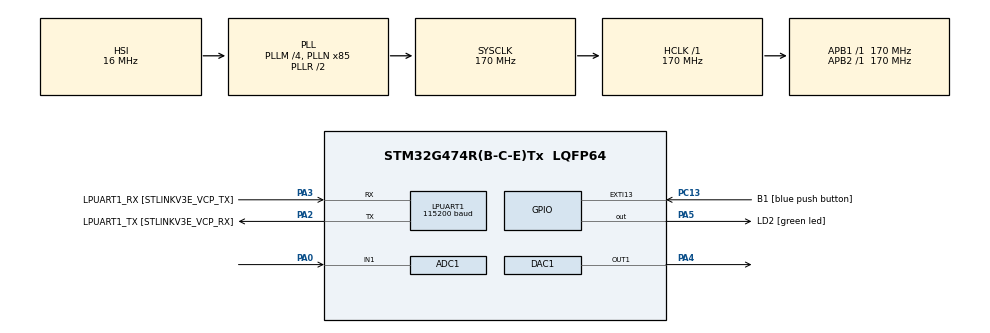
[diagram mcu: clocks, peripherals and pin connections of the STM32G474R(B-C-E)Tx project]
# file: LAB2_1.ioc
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ADC1.Channel-0\#ChannelRegularConversion=ADC_CHANNEL_1
ADC1.ContinuousConvMode=ENABLE
ADC1.DMAContinuousRequests=ENABLE
ADC1.NbrOfConversionFlag=1
ADC1.OffsetNumber-0\#ChannelRegularConversion=ADC_OFFSET_NONE
ADC1.Rank-0\#ChannelRegularConversion=1
ADC1.SamplingTime-0\#ChannelRegularConversion=ADC_SAMPLETIME_640CYCLES_5
ADC1.master=1
Dma.ADC1.0.Direction=DMA_PERIPH_TO_MEMORY
Dma.ADC1.0.EventEnable=DISABLE
Dma.ADC1.0.Instance=DMA1_Channel1
Dma.ADC1.0.MemDataAlignment=DMA_MDATAALIGN_HALFWORD
Dma.ADC1.0.MemInc=DMA_MINC_ENABLE
Dma.ADC1.0.Mode=DMA_CIRCULAR
Dma.ADC1.0.PeriphDataAlignment=DMA_PDATAALIGN_HALFWORD
Dma.ADC1.0.PeriphInc=DMA_PINC_DISABLE
Dma.ADC1.0.Polarity=HAL_DMAMUX_REQ_GEN_RISING
Dma.ADC1.0.Priority=DMA_PRIORITY_LOW
Dma.ADC1.0.RequestNumber=1
Dma.ADC1.0.SignalID=NONE
Dma.ADC1.0.SyncEnable=DISABLE
Dma.ADC1.0.SyncPolarity=HAL_DMAMUX_SYNC_NO_EVENT
Dma.ADC1.0.SyncRequestNumber=1
Dma.ADC1.0.SyncSignalID=NONE
Dma.Request0=ADC1
LPUART1.BaudRate=115200
LPUART1.WordLength=UART_WORDLENGTH_8B
Mcu.Family=STM32G4
Mcu.Name=STM32G474R(B-C-E)Tx
Mcu.Package=LQFP64
NVIC.DMA1_Channel1_IRQn=true\:0\:0\:false\:false\:true\:false\:true\:true
NVIC.EXTI15_10_IRQn=true\:0\:0\:false\:false\:true\:true\:true\:true
NVIC.PriorityGroup=NVIC_PRIORITYGROUP_4
PA0.Mode=IN1-Single-Ended
PA0.Signal=ADC1_IN1
PA13.GPIO_Label=T_SWDIO
PA13.Mode=Trace_Asynchronous_SW
PA13.Signal=SYS_JTMS-SWDIO
PA14.GPIO_Label=T_SWCLK
PA14.Mode=Trace_Asynchronous_SW
PA14.Signal=SYS_JTCK-SWCLK
PA2.GPIO_Label=LPUART1_TX [STLINKV3E_VCP_RX]
PA2.Mode=Asynchronous
PA2.Signal=LPUART1_TX
PA3.GPIO_Label=LPUART1_RX [STLINKV3E_VCP_TX]
PA3.Mode=Asynchronous
PA3.Signal=LPUART1_RX
PA4.Signal=COMP_DAC11_group
PA5.GPIO_Label=LD2 [green led]
PA5.Signal=GPIO_Output
PB3.GPIO_Label=T_SWO
PB3.Mode=Trace_Asynchronous_SW
PB3.Signal=SYS_JTDO-SWO
PC13.GPIO_Label=B1 [blue push button]
PC13.Signal=GPXTI13
PC14-OSC32_IN.Mode=LSE-External-Oscillator
PC14-OSC32_IN.Signal=RCC_OSC32_IN
PC15-OSC32_OUT.Mode=LSE-External-Oscillator
PC15-OSC32_OUT.Signal=RCC_OSC32_OUT
PF0-OSC_IN.Mode=HSE-External-Oscillator
PF0-OSC_IN.Signal=RCC_OSC_IN
PF1-OSC_OUT.Mode=HSE-External-Oscillator
PF1-OSC_OUT.Signal=RCC_OSC_OUT
ProjectManager.HeapSize=0x200
ProjectManager.StackSize=0x400
ProjectManager.TargetToolchain=STM32CubeIDE
RCC.ADC12Freq_Value=170000000
RCC.ADC345Freq_Value=170000000
RCC.AHBFreq_Value=170000000
RCC.APB1Freq_Value=170000000
RCC.APB1TimFreq_Value=170000000
RCC.APB2Freq_Value=170000000
RCC.APB2TimFreq_Value=170000000
RCC.CortexFreq_Value=170000000
RCC.EXTERNAL_CLOCK_VALUE=12288000
RCC.HCLKFreq_Value=170000000
RCC.HSE_VALUE=24000000
RCC.HSI48_VALUE=48000000
RCC.HSI_VALUE=16000000
RCC.PLLM=RCC_PLLM_DIV4
RCC.PLLN=85
RCC.RTCClockSelection=RCC_RTCCLKSOURCE_LSE
RCC.SYSCLKFreq_VALUE=170000000
RCC.SYSCLKSource=RCC_SYSCLKSOURCE_PLLCLK
RCC.USBFreq_Value=170000000
RCC.VCOOutputFreq_Value=340000000
SH.COMP_DAC11_group.0=DAC1_OUT1,DAC_OUT1_ExtAndInt
TIM2.Prescaler=170-1
VP_SYS_VS_DBSignals.Mode=DisableDeadBatterySignals
VP_TIM2_VS_ClockSourceINT.Mode=Internal
board=NUCLEO-G474RE

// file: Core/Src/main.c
/* USER CODE BEGIN Header */
/**
  ******************************************************************************
  * @file           : main.c
  * @brief          : Main program body
  ******************************************************************************
  * @attention
  *
  * Copyright (c) 2024 STMicroelectronics.
  * All rights reserved.
  *
  * This software is licensed under terms that can be found in the LICENSE file
  * in the root directory of this software component.
  * If no LICENSE file comes with this software, it is provided AS-IS.
  *
  ******************************************************************************
  */
/* USER CODE END Header */
#include "main.h"

ADC_HandleTypeDef hadc1;
DMA_HandleTypeDef hdma_adc1;

DAC_HandleTypeDef hdac1;

UART_HandleTypeDef hlpuart1;

TIM_HandleTypeDef htim2;

/* USER CODE BEGIN PV */
double T = 0.00001;
double Vin = 0;
double omega = 0;
double omega_1 = 0;
double omega_2 = 0;

double R = 28.962;
double B = 2.2936*(1/100000);
double J = 1.0233*(1/100000);
double L = 0.0243;
double K_t = 0.124;
double K_e = 0.056;

double num;
double den;

float ADC_avg = 0;
uint16_t ADCRead[21]  = {0};
uint16_t DACOut = 0;
float Vout = 0;
//lol

/* USER CODE END PV */

void SystemClock_Config(void);
static void MX_GPIO_Init(void);
static void MX_DMA_Init(void);
static void MX_LPUART1_UART_Init(void);
static void MX_ADC1_Init(void);
static void MX_DAC1_Init(void);
static void MX_TIM2_Init(void);

int main(void)
{

  /* MCU Configuration--------------------------------------------------------*/

  /* Reset of all peripherals, Initializes the Flash interface and the Systick. */
  HAL_Init();

  /* Configure the system clock */
  SystemClock_Config();

  /* Initialize all configured peripherals */
  MX_GPIO_Init();
  MX_DMA_Init();
  MX_LPUART1_UART_Init();
  MX_ADC1_Init();
  MX_DAC1_Init();
  MX_TIM2_Init();
  /* USER CODE BEGIN 2 */
  HAL_TIM_Base_Start(&htim2);

  HAL_ADCEx_Calibration_Start(&hadc1, ADC_SINGLE_ENDED);
  HAL_ADC_Start_DMA(&hadc1, ADCRead, 21);

  HAL_DAC_SetValue(&hdac1, DAC_CHANNEL_1, DAC_ALIGN_12B_R, 2048);
  HAL_DAC_Start(&hdac1, DAC_CHANNEL_1);
  /* USER CODE END 2 */

  /* Infinite loop */
  while (1)
  {

    /* USER CODE BEGIN 3 */
//
//	  	  if(__HAL_DMA_GET_COUNTER(hadc1.DMA_Handle)>=1){
	  		  uint32_t sumadc = 0;
	  		  for(int i = 0 ; i<20;i++){
	  			  sumadc += ADCRead[i];
	  		  }
	  		  ADC_avg = sumadc/20;
//	  	  }
//	  	  ADC_avg = ADCRead[0];
		  static uint32_t timestamp = 0;
		  if(timestamp <=__HAL_TIM_GET_COUNTER(&htim2))
		  {
			  //re-time
			  timestamp = __HAL_TIM_GET_COUNTER(&htim2) + 100;

			  //equation
			  Vin = ((ADC_avg*3.3/4095)-1.65)*7.27272;
//			  Vin = ADC_avg*12/4095;
//			  Vin = Vin*12/3.3;

			  num = (K_t*T*T*Vin)+(((2*J*L)+(J*R*T)+(L*B*T))*omega_1)-(J*L*omega_2);
			  den = (J*L)+(J*R*T)+(L*B*T)+(R*B*T*T)+(K_t*K_e*T*T);
			  omega = num/den;

			  Vout = 1.65 + (omega-0)*((2.65-1.65)/(100));
			  DACOut = Vout*4095/3.3;
			  if(DACOut >= 4095)DACOut = 4095;
			  HAL_DAC_SetValue(&hdac1, DAC_CHANNEL_1, DAC_ALIGN_12B_R, DACOut);

			  HAL_GPIO_TogglePin(GPIOA, GPIO_PIN_5);
			  //re-omega
			  omega_2 = omega_1;
			  omega_1 = omega;
		  }

  }
  /* USER CODE END 3 */
}

void SystemClock_Config(void)
{
  RCC_OscInitTypeDef RCC_OscInitStruct = {0};
  RCC_ClkInitTypeDef RCC_ClkInitStruct = {0};

  /** Configure the main internal regulator output voltage
  */
  HAL_PWREx_ControlVoltageScaling(PWR_REGULATOR_VOLTAGE_SCALE1_BOOST);

  /** Initializes the RCC Oscillators according to the specified parameters
  * in the RCC_OscInitTypeDef structure.
  */
  RCC_OscInitStruct.OscillatorType = RCC_OSCILLATORTYPE_HSI;
  RCC_OscInitStruct.HSIState = RCC_HSI_ON;
  RCC_OscInitStruct.HSICalibrationValue = RCC_HSICALIBRATION_DEFAULT;
  RCC_OscInitStruct.PLL.PLLState = RCC_PLL_ON;
  RCC_OscInitStruct.PLL.PLLSource = RCC_PLLSOURCE_HSI;
  RCC_OscInitStruct.PLL.PLLM = RCC_PLLM_DIV4;
  RCC_OscInitStruct.PLL.PLLN = 85;
  RCC_OscInitStruct.PLL.PLLP = RCC_PLLP_DIV2;
  RCC_OscInitStruct.PLL.PLLQ = RCC_PLLQ_DIV2;
  RCC_OscInitStruct.PLL.PLLR = RCC_PLLR_DIV2;
  if (HAL_RCC_OscConfig(&RCC_OscInitStruct) != HAL_OK)
  {
    Error_Handler();
  }

  /** Initializes the CPU, AHB and APB buses clocks
  */
  RCC_ClkInitStruct.ClockType = RCC_CLOCKTYPE_HCLK|RCC_CLOCKTYPE_SYSCLK
                              |RCC_CLOCKTYPE_PCLK1|RCC_CLOCKTYPE_PCLK2;
  RCC_ClkInitStruct.SYSCLKSource = RCC_SYSCLKSOURCE_PLLCLK;
  RCC_ClkInitStruct.AHBCLKDivider = RCC_SYSCLK_DIV1;
  RCC_ClkInitStruct.APB1CLKDivider = RCC_HCLK_DIV1;
  RCC_ClkInitStruct.APB2CLKDivider = RCC_HCLK_DIV1;

  if (HAL_RCC_ClockConfig(&RCC_ClkInitStruct, FLASH_LATENCY_4) != HAL_OK)
  {
    Error_Handler();
  }
}

static void MX_ADC1_Init(void)
{

  ADC_MultiModeTypeDef multimode = {0};
  ADC_ChannelConfTypeDef sConfig = {0};

  /** Common config
  */
  hadc1.Instance = ADC1;
  hadc1.Init.ClockPrescaler = ADC_CLOCK_SYNC_PCLK_DIV4;
  hadc1.Init.Resolution = ADC_RESOLUTION_12B;
  hadc1.Init.DataAlign = ADC_DATAALIGN_RIGHT;
  hadc1.Init.GainCompensation = 0;
  hadc1.Init.ScanConvMode = ADC_SCAN_DISABLE;
  hadc1.Init.EOCSelection = ADC_EOC_SINGLE_CONV;
  hadc1.Init.LowPowerAutoWait = DISABLE;
  hadc1.Init.ContinuousConvMode = ENABLE;
  hadc1.Init.NbrOfConversion = 1;
  hadc1.Init.DiscontinuousConvMode = DISABLE;
  hadc1.Init.ExternalTrigConv = ADC_SOFTWARE_START;
  hadc1.Init.ExternalTrigConvEdge = ADC_EXTERNALTRIGCONVEDGE_NONE;
  hadc1.Init.DMAContinuousRequests = ENABLE;
  hadc1.Init.Overrun = ADC_OVR_DATA_PRESERVED;
  hadc1.Init.OversamplingMode = DISABLE;
  if (HAL_ADC_Init(&hadc1) != HAL_OK)
  {
    Error_Handler();
  }

  /** Configure the ADC multi-mode
  */
  multimode.Mode = ADC_MODE_INDEPENDENT;
  if (HAL_ADCEx_MultiModeConfigChannel(&hadc1, &multimode) != HAL_OK)
  {
    Error_Handler();
  }

  /** Configure Regular Channel
  */
  sConfig.Channel = ADC_CHANNEL_1;
  sConfig.Rank = ADC_REGULAR_RANK_1;
  sConfig.SamplingTime = ADC_SAMPLETIME_640CYCLES_5;
  sConfig.SingleDiff = ADC_SINGLE_ENDED;
  sConfig.OffsetNumber = ADC_OFFSET_NONE;
  sConfig.Offset = 0;
  if (HAL_ADC_ConfigChannel(&hadc1, &sConfig) != HAL_OK)
  {
    Error_Handler();
  }

}

static void MX_DAC1_Init(void)
{

  DAC_ChannelConfTypeDef sConfig = {0};

  /** DAC Initialization
  */
  hdac1.Instance = DAC1;
  if (HAL_DAC_Init(&hdac1) != HAL_OK)
  {
    Error_Handler();
  }

  /** DAC channel OUT1 config
  */
  sConfig.DAC_HighFrequency = DAC_HIGH_FREQUENCY_INTERFACE_MODE_AUTOMATIC;
  sConfig.DAC_DMADoubleDataMode = DISABLE;
  sConfig.DAC_SignedFormat = DISABLE;
  sConfig.DAC_SampleAndHold = DAC_SAMPLEANDHOLD_DISABLE;
  sConfig.DAC_Trigger = DAC_TRIGGER_NONE;
  sConfig.DAC_Trigger2 = DAC_TRIGGER_NONE;
  sConfig.DAC_OutputBuffer = DAC_OUTPUTBUFFER_ENABLE;
  sConfig.DAC_ConnectOnChipPeripheral = DAC_CHIPCONNECT_BOTH;
  sConfig.DAC_UserTrimming = DAC_TRIMMING_FACTORY;
  if (HAL_DAC_ConfigChannel(&hdac1, &sConfig, DAC_CHANNEL_1) != HAL_OK)
  {
    Error_Handler();
  }

}

static void MX_LPUART1_UART_Init(void)
{

  hlpuart1.Instance = LPUART1;
  hlpuart1.Init.BaudRate = 115200;
  hlpuart1.Init.WordLength = UART_WORDLENGTH_8B;
  hlpuart1.Init.StopBits = UART_STOPBITS_1;
  hlpuart1.Init.Parity = UART_PARITY_NONE;
  hlpuart1.Init.Mode = UART_MODE_TX_RX;
  hlpuart1.Init.HwFlowCtl = UART_HWCONTROL_NONE;
  hlpuart1.Init.OneBitSampling = UART_ONE_BIT_SAMPLE_DISABLE;
  hlpuart1.Init.ClockPrescaler = UART_PRESCALER_DIV1;
  hlpuart1.AdvancedInit.AdvFeatureInit = UART_ADVFEATURE_NO_INIT;
  if (HAL_UART_Init(&hlpuart1) != HAL_OK)
  {
    Error_Handler();
  }
  if (HAL_UARTEx_SetTxFifoThreshold(&hlpuart1, UART_TXFIFO_THRESHOLD_1_8) != HAL_OK)
  {
    Error_Handler();
  }
  if (HAL_UARTEx_SetRxFifoThreshold(&hlpuart1, UART_RXFIFO_THRESHOLD_1_8) != HAL_OK)
  {
    Error_Handler();
  }
  if (HAL_UARTEx_DisableFifoMode(&hlpuart1) != HAL_OK)
  {
    Error_Handler();
  }

}

static void MX_TIM2_Init(void)
{

  TIM_ClockConfigTypeDef sClockSourceConfig = {0};
  TIM_MasterConfigTypeDef sMasterConfig = {0};

  htim2.Instance = TIM2;
  htim2.Init.Prescaler = 170-1;
  htim2.Init.CounterMode = TIM_COUNTERMODE_UP;
  htim2.Init.Period = 4.294967295E9;
  htim2.Init.ClockDivision = TIM_CLOCKDIVISION_DIV1;
  htim2.Init.AutoReloadPreload = TIM_AUTORELOAD_PRELOAD_DISABLE;
  if (HAL_TIM_Base_Init(&htim2) != HAL_OK)
  {
    Error_Handler();
  }
  sClockSourceConfig.ClockSource = TIM_CLOCKSOURCE_INTERNAL;
  if (HAL_TIM_ConfigClockSource(&htim2, &sClockSourceConfig) != HAL_OK)
  {
    Error_Handler();
  }
  sMasterConfig.MasterOutputTrigger = TIM_TRGO_RESET;
  sMasterConfig.MasterSlaveMode = TIM_MASTERSLAVEMODE_DISABLE;
  if (HAL_TIMEx_MasterConfigSynchronization(&htim2, &sMasterConfig) != HAL_OK)
  {
    Error_Handler();
  }

}

static void MX_DMA_Init(void)
{

  /* DMA controller clock enable */
  __HAL_RCC_DMAMUX1_CLK_ENABLE();
  __HAL_RCC_DMA1_CLK_ENABLE();

  /* DMA interrupt init */
  /* DMA1_Channel1_IRQn interrupt configuration */
  HAL_NVIC_SetPriority(DMA1_Channel1_IRQn, 0, 0);
  HAL_NVIC_EnableIRQ(DMA1_Channel1_IRQn);

}

static void MX_GPIO_Init(void)
{
  GPIO_InitTypeDef GPIO_InitStruct = {0};

  /* GPIO Ports Clock Enable */
  __HAL_RCC_GPIOC_CLK_ENABLE();
  __HAL_RCC_GPIOF_CLK_ENABLE();
  __HAL_RCC_GPIOA_CLK_ENABLE();
  __HAL_RCC_GPIOB_CLK_ENABLE();

  /*Configure GPIO pin Output Level */
  HAL_GPIO_WritePin(LD2_GPIO_Port, LD2_Pin, GPIO_PIN_RESET);

  /*Configure GPIO pin : B1_Pin */
  GPIO_InitStruct.Pin = B1_Pin;
  GPIO_InitStruct.Mode = GPIO_MODE_IT_RISING;
  GPIO_InitStruct.Pull = GPIO_NOPULL;
  HAL_GPIO_Init(B1_GPIO_Port, &GPIO_InitStruct);

  /*Configure GPIO pin : LD2_Pin */
  GPIO_InitStruct.Pin = LD2_Pin;
  GPIO_InitStruct.Mode = GPIO_MODE_OUTPUT_PP;
  GPIO_InitStruct.Pull = GPIO_NOPULL;
  GPIO_InitStruct.Speed = GPIO_SPEED_FREQ_LOW;
  HAL_GPIO_Init(LD2_GPIO_Port, &GPIO_InitStruct);

  /* EXTI interrupt init*/
  HAL_NVIC_SetPriority(EXTI15_10_IRQn, 0, 0);
  HAL_NVIC_EnableIRQ(EXTI15_10_IRQn);

}

void Error_Handler(void)
{
  __disable_irq();
  while (1)
  {
  }
}
